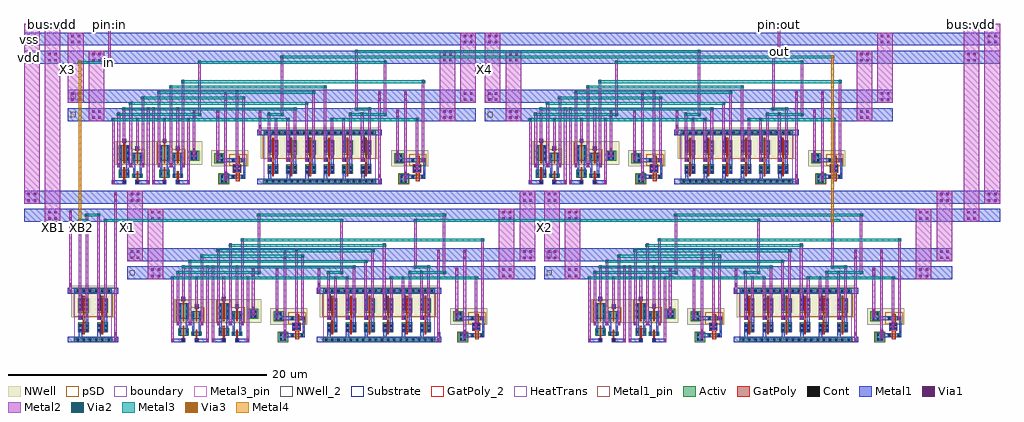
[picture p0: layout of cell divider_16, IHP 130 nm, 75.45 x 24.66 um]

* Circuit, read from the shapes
.subckt divider_16 in out vdd vss
XM1 sg13cmos5l_inv_1_1/A in vss vss sg13_lv_nmos w=0.74u l=0.13u
XM2 sg13cmos5l_inv_1_1/Y sg13cmos5l_inv_1_1/A vss vss sg13_lv_nmos w=0.74u l=0.13u
XM3 dff_c2mos_4/sg13cmos5l_inv_1_12/A dff_c2mos_4/sg13cmos5l_inv_1_11/A dff_c2mos_4/d vss sg13_lv_nmos w=0.6u l=0.13u
XM4 dff_c2mos_4/invlvw_9/y dff_c2mos_4/sg13cmos5l_inv_1_11/Y dff_c2mos_4/sg13cmos5l_inv_1_12/A vss sg13_lv_nmos w=0.3u l=0.13u
XM5 dff_c2mos_4/sg13cmos5l_inv_1_13/A dff_c2mos_4/sg13cmos5l_inv_1_11/Y dff_c2mos_4/sg13cmos5l_inv_1_12/Y vss sg13_lv_nmos w=0.6u l=0.13u
XM6 dff_c2mos_4/invlvw_16/y dff_c2mos_4/sg13cmos5l_inv_1_11/A dff_c2mos_4/sg13cmos5l_inv_1_13/A vss sg13_lv_nmos w=0.3u l=0.13u
XM7 dff_c2mos_2/sg13cmos5l_inv_1_12/A dff_c2mos_2/sg13cmos5l_inv_1_11/A dff_c2mos_2/d vss sg13_lv_nmos w=0.6u l=0.13u
XM8 dff_c2mos_2/invlvw_9/y dff_c2mos_2/sg13cmos5l_inv_1_11/Y dff_c2mos_2/sg13cmos5l_inv_1_12/A vss sg13_lv_nmos w=0.3u l=0.13u
XM9 dff_c2mos_2/sg13cmos5l_inv_1_13/A dff_c2mos_2/sg13cmos5l_inv_1_11/Y dff_c2mos_2/sg13cmos5l_inv_1_12/Y vss sg13_lv_nmos w=0.6u l=0.13u
XM10 dff_c2mos_4/invlvw_9/y dff_c2mos_4/sg13cmos5l_inv_1_12/Y vss vss sg13_lv_nmos w=0.3u l=0.3u
XM11 dff_c2mos_2/invlvw_16/y dff_c2mos_2/sg13cmos5l_inv_1_11/A dff_c2mos_2/sg13cmos5l_inv_1_13/A vss sg13_lv_nmos w=0.3u l=0.13u
XM12 dff_c2mos_4/sg13cmos5l_inv_1_11/A dff_c2mos_4/clk vss vss sg13_lv_nmos w=0.74u l=0.13u
XM13 dff_c2mos_4/sg13cmos5l_inv_1_11/Y dff_c2mos_4/sg13cmos5l_inv_1_11/A vss vss sg13_lv_nmos w=0.74u l=0.13u
XM14 dff_c2mos_2/invlvw_9/y dff_c2mos_2/sg13cmos5l_inv_1_12/Y vss vss sg13_lv_nmos w=0.3u l=0.3u
XM15 dff_c2mos_4/sg13cmos5l_inv_1_12/Y dff_c2mos_4/sg13cmos5l_inv_1_12/A vss vss sg13_lv_nmos w=0.74u l=0.13u
XM16 dff_c2mos_4/sg13cmos5l_inv_1_14/A dff_c2mos_4/sg13cmos5l_inv_1_13/A vss vss sg13_lv_nmos w=0.74u l=0.13u
XM17 dff_c2mos_2/sg13cmos5l_inv_1_11/A sg13cmos5l_inv_1_1/Y vss vss sg13_lv_nmos w=0.74u l=0.13u
XM18 dff_c2mos_4/d dff_c2mos_4/sg13cmos5l_inv_1_14/A vss vss sg13_lv_nmos w=0.74u l=0.13u
XM19 dff_c2mos_2/sg13cmos5l_inv_1_11/Y dff_c2mos_2/sg13cmos5l_inv_1_11/A vss vss sg13_lv_nmos w=0.74u l=0.13u
XM20 dff_c2mos_5/clk dff_c2mos_4/d vss vss sg13_lv_nmos w=0.74u l=0.13u
XM21 dff_c2mos_2/sg13cmos5l_inv_1_12/Y dff_c2mos_2/sg13cmos5l_inv_1_12/A vss vss sg13_lv_nmos w=0.74u l=0.13u
XM22 dff_c2mos_2/sg13cmos5l_inv_1_14/A dff_c2mos_2/sg13cmos5l_inv_1_13/A vss vss sg13_lv_nmos w=0.74u l=0.13u
XM23 dff_c2mos_2/d dff_c2mos_2/sg13cmos5l_inv_1_14/A vss vss sg13_lv_nmos w=0.74u l=0.13u
XM24 dff_c2mos_4/invlvw_16/y dff_c2mos_4/sg13cmos5l_inv_1_14/A vss vss sg13_lv_nmos w=0.3u l=0.3u
XM25 dff_c2mos_3/clk dff_c2mos_2/d vss vss sg13_lv_nmos w=0.74u l=0.13u
XM26 dff_c2mos_2/invlvw_16/y dff_c2mos_2/sg13cmos5l_inv_1_14/A vss vss sg13_lv_nmos w=0.3u l=0.3u
XM27 dff_c2mos_5/sg13cmos5l_inv_1_12/A dff_c2mos_5/sg13cmos5l_inv_1_11/A dff_c2mos_5/d vss sg13_lv_nmos w=0.6u l=0.13u
XM28 dff_c2mos_5/invlvw_9/y dff_c2mos_5/sg13cmos5l_inv_1_11/Y dff_c2mos_5/sg13cmos5l_inv_1_12/A vss sg13_lv_nmos w=0.3u l=0.13u
XM29 dff_c2mos_5/sg13cmos5l_inv_1_13/A dff_c2mos_5/sg13cmos5l_inv_1_11/Y dff_c2mos_5/sg13cmos5l_inv_1_12/Y vss sg13_lv_nmos w=0.6u l=0.13u
XM30 dff_c2mos_5/invlvw_16/y dff_c2mos_5/sg13cmos5l_inv_1_11/A dff_c2mos_5/sg13cmos5l_inv_1_13/A vss sg13_lv_nmos w=0.3u l=0.13u
XM31 dff_c2mos_3/sg13cmos5l_inv_1_12/A dff_c2mos_3/sg13cmos5l_inv_1_11/A dff_c2mos_3/d vss sg13_lv_nmos w=0.6u l=0.13u
XM32 dff_c2mos_3/invlvw_9/y dff_c2mos_3/sg13cmos5l_inv_1_11/Y dff_c2mos_3/sg13cmos5l_inv_1_12/A vss sg13_lv_nmos w=0.3u l=0.13u
XM33 dff_c2mos_3/sg13cmos5l_inv_1_13/A dff_c2mos_3/sg13cmos5l_inv_1_11/Y dff_c2mos_3/sg13cmos5l_inv_1_12/Y vss sg13_lv_nmos w=0.6u l=0.13u
XM34 dff_c2mos_5/invlvw_9/y dff_c2mos_5/sg13cmos5l_inv_1_12/Y vss vss sg13_lv_nmos w=0.3u l=0.3u
XM35 dff_c2mos_3/invlvw_16/y dff_c2mos_3/sg13cmos5l_inv_1_11/A dff_c2mos_3/sg13cmos5l_inv_1_13/A vss sg13_lv_nmos w=0.3u l=0.13u
XM36 dff_c2mos_5/sg13cmos5l_inv_1_11/A dff_c2mos_5/clk vss vss sg13_lv_nmos w=0.74u l=0.13u
XM37 dff_c2mos_5/sg13cmos5l_inv_1_11/Y dff_c2mos_5/sg13cmos5l_inv_1_11/A vss vss sg13_lv_nmos w=0.74u l=0.13u
XM38 dff_c2mos_3/invlvw_9/y dff_c2mos_3/sg13cmos5l_inv_1_12/Y vss vss sg13_lv_nmos w=0.3u l=0.3u
XM39 dff_c2mos_5/sg13cmos5l_inv_1_12/Y dff_c2mos_5/sg13cmos5l_inv_1_12/A vss vss sg13_lv_nmos w=0.74u l=0.13u
XM40 dff_c2mos_5/sg13cmos5l_inv_1_14/A dff_c2mos_5/sg13cmos5l_inv_1_13/A vss vss sg13_lv_nmos w=0.74u l=0.13u
XM41 dff_c2mos_3/sg13cmos5l_inv_1_11/A dff_c2mos_3/clk vss vss sg13_lv_nmos w=0.74u l=0.13u
XM42 dff_c2mos_5/d dff_c2mos_5/sg13cmos5l_inv_1_14/A vss vss sg13_lv_nmos w=0.74u l=0.13u
XM43 dff_c2mos_3/sg13cmos5l_inv_1_11/Y dff_c2mos_3/sg13cmos5l_inv_1_11/A vss vss sg13_lv_nmos w=0.74u l=0.13u
XM44 out dff_c2mos_5/d vss vss sg13_lv_nmos w=0.74u l=0.13u
XM45 dff_c2mos_3/sg13cmos5l_inv_1_12/Y dff_c2mos_3/sg13cmos5l_inv_1_12/A vss vss sg13_lv_nmos w=0.74u l=0.13u
XM46 dff_c2mos_3/sg13cmos5l_inv_1_14/A dff_c2mos_3/sg13cmos5l_inv_1_13/A vss vss sg13_lv_nmos w=0.74u l=0.13u
XM47 dff_c2mos_3/d dff_c2mos_3/sg13cmos5l_inv_1_14/A vss vss sg13_lv_nmos w=0.74u l=0.13u
XM48 dff_c2mos_5/invlvw_16/y dff_c2mos_5/sg13cmos5l_inv_1_14/A vss vss sg13_lv_nmos w=0.3u l=0.3u
XM49 dff_c2mos_4/clk dff_c2mos_3/d vss vss sg13_lv_nmos w=0.74u l=0.13u
XM50 dff_c2mos_3/invlvw_16/y dff_c2mos_3/sg13cmos5l_inv_1_14/A vss vss sg13_lv_nmos w=0.3u l=0.3u
XM51 sg13cmos5l_inv_1_1/A in vdd vdd sg13_lv_pmos w=1.12u l=0.13u
XM52 sg13cmos5l_inv_1_1/Y sg13cmos5l_inv_1_1/A vdd vdd sg13_lv_pmos w=1.12u l=0.13u
XM53 dff_c2mos_4/sg13cmos5l_inv_1_12/A dff_c2mos_4/sg13cmos5l_inv_1_11/Y dff_c2mos_4/d vdd sg13_lv_pmos w=1.2u l=0.13u
XM54 dff_c2mos_4/invlvw_9/y dff_c2mos_4/sg13cmos5l_inv_1_11/A dff_c2mos_4/sg13cmos5l_inv_1_12/A vdd sg13_lv_pmos w=0.6u l=0.13u
XM55 dff_c2mos_4/sg13cmos5l_inv_1_13/A dff_c2mos_4/sg13cmos5l_inv_1_11/A dff_c2mos_4/sg13cmos5l_inv_1_12/Y vdd sg13_lv_pmos w=1.2u l=0.13u
XM56 dff_c2mos_4/invlvw_16/y dff_c2mos_4/sg13cmos5l_inv_1_11/Y dff_c2mos_4/sg13cmos5l_inv_1_13/A vdd sg13_lv_pmos w=0.6u l=0.13u
XM57 dff_c2mos_2/sg13cmos5l_inv_1_12/A dff_c2mos_2/sg13cmos5l_inv_1_11/Y dff_c2mos_2/d vdd sg13_lv_pmos w=1.2u l=0.13u
XM58 dff_c2mos_2/invlvw_9/y dff_c2mos_2/sg13cmos5l_inv_1_11/A dff_c2mos_2/sg13cmos5l_inv_1_12/A vdd sg13_lv_pmos w=0.6u l=0.13u
XM59 dff_c2mos_2/sg13cmos5l_inv_1_13/A dff_c2mos_2/sg13cmos5l_inv_1_11/A dff_c2mos_2/sg13cmos5l_inv_1_12/Y vdd sg13_lv_pmos w=1.2u l=0.13u
XM60 dff_c2mos_4/invlvw_9/y dff_c2mos_4/sg13cmos5l_inv_1_12/Y vdd vdd sg13_lv_pmos w=0.3u l=0.3u
XM61 dff_c2mos_2/invlvw_16/y dff_c2mos_2/sg13cmos5l_inv_1_11/Y dff_c2mos_2/sg13cmos5l_inv_1_13/A vdd sg13_lv_pmos w=0.6u l=0.13u
XM62 dff_c2mos_4/sg13cmos5l_inv_1_11/A dff_c2mos_4/clk vdd vdd sg13_lv_pmos w=1.12u l=0.13u
XM63 dff_c2mos_4/sg13cmos5l_inv_1_11/Y dff_c2mos_4/sg13cmos5l_inv_1_11/A vdd vdd sg13_lv_pmos w=1.12u l=0.13u
XM64 dff_c2mos_2/invlvw_9/y dff_c2mos_2/sg13cmos5l_inv_1_12/Y vdd vdd sg13_lv_pmos w=0.3u l=0.3u
XM65 dff_c2mos_4/sg13cmos5l_inv_1_12/Y dff_c2mos_4/sg13cmos5l_inv_1_12/A vdd vdd sg13_lv_pmos w=1.12u l=0.13u
XM66 dff_c2mos_4/sg13cmos5l_inv_1_14/A dff_c2mos_4/sg13cmos5l_inv_1_13/A vdd vdd sg13_lv_pmos w=1.12u l=0.13u
XM67 dff_c2mos_2/sg13cmos5l_inv_1_11/A sg13cmos5l_inv_1_1/Y vdd vdd sg13_lv_pmos w=1.12u l=0.13u
XM68 dff_c2mos_4/d dff_c2mos_4/sg13cmos5l_inv_1_14/A vdd vdd sg13_lv_pmos w=1.12u l=0.13u
XM69 dff_c2mos_2/sg13cmos5l_inv_1_11/Y dff_c2mos_2/sg13cmos5l_inv_1_11/A vdd vdd sg13_lv_pmos w=1.12u l=0.13u
XM70 dff_c2mos_5/clk dff_c2mos_4/d vdd vdd sg13_lv_pmos w=1.12u l=0.13u
XM71 dff_c2mos_2/sg13cmos5l_inv_1_12/Y dff_c2mos_2/sg13cmos5l_inv_1_12/A vdd vdd sg13_lv_pmos w=1.12u l=0.13u
XM72 dff_c2mos_2/sg13cmos5l_inv_1_14/A dff_c2mos_2/sg13cmos5l_inv_1_13/A vdd vdd sg13_lv_pmos w=1.12u l=0.13u
XM73 dff_c2mos_2/d dff_c2mos_2/sg13cmos5l_inv_1_14/A vdd vdd sg13_lv_pmos w=1.12u l=0.13u
XM74 dff_c2mos_4/invlvw_16/y dff_c2mos_4/sg13cmos5l_inv_1_14/A vdd vdd sg13_lv_pmos w=0.3u l=0.3u
XM75 dff_c2mos_3/clk dff_c2mos_2/d vdd vdd sg13_lv_pmos w=1.12u l=0.13u
XM76 dff_c2mos_2/invlvw_16/y dff_c2mos_2/sg13cmos5l_inv_1_14/A vdd vdd sg13_lv_pmos w=0.3u l=0.3u
XM77 dff_c2mos_5/sg13cmos5l_inv_1_12/A dff_c2mos_5/sg13cmos5l_inv_1_11/Y dff_c2mos_5/d vdd sg13_lv_pmos w=1.2u l=0.13u
XM78 dff_c2mos_5/invlvw_9/y dff_c2mos_5/sg13cmos5l_inv_1_11/A dff_c2mos_5/sg13cmos5l_inv_1_12/A vdd sg13_lv_pmos w=0.6u l=0.13u
XM79 dff_c2mos_5/sg13cmos5l_inv_1_13/A dff_c2mos_5/sg13cmos5l_inv_1_11/A dff_c2mos_5/sg13cmos5l_inv_1_12/Y vdd sg13_lv_pmos w=1.2u l=0.13u
XM80 dff_c2mos_5/invlvw_16/y dff_c2mos_5/sg13cmos5l_inv_1_11/Y dff_c2mos_5/sg13cmos5l_inv_1_13/A vdd sg13_lv_pmos w=0.6u l=0.13u
XM81 dff_c2mos_3/sg13cmos5l_inv_1_12/A dff_c2mos_3/sg13cmos5l_inv_1_11/Y dff_c2mos_3/d vdd sg13_lv_pmos w=1.2u l=0.13u
XM82 dff_c2mos_3/invlvw_9/y dff_c2mos_3/sg13cmos5l_inv_1_11/A dff_c2mos_3/sg13cmos5l_inv_1_12/A vdd sg13_lv_pmos w=0.6u l=0.13u
XM83 dff_c2mos_3/sg13cmos5l_inv_1_13/A dff_c2mos_3/sg13cmos5l_inv_1_11/A dff_c2mos_3/sg13cmos5l_inv_1_12/Y vdd sg13_lv_pmos w=1.2u l=0.13u
XM84 dff_c2mos_5/invlvw_9/y dff_c2mos_5/sg13cmos5l_inv_1_12/Y vdd vdd sg13_lv_pmos w=0.3u l=0.3u
XM85 dff_c2mos_3/invlvw_16/y dff_c2mos_3/sg13cmos5l_inv_1_11/Y dff_c2mos_3/sg13cmos5l_inv_1_13/A vdd sg13_lv_pmos w=0.6u l=0.13u
XM86 dff_c2mos_5/sg13cmos5l_inv_1_11/A dff_c2mos_5/clk vdd vdd sg13_lv_pmos w=1.12u l=0.13u
XM87 dff_c2mos_5/sg13cmos5l_inv_1_11/Y dff_c2mos_5/sg13cmos5l_inv_1_11/A vdd vdd sg13_lv_pmos w=1.12u l=0.13u
XM88 dff_c2mos_3/invlvw_9/y dff_c2mos_3/sg13cmos5l_inv_1_12/Y vdd vdd sg13_lv_pmos w=0.3u l=0.3u
XM89 dff_c2mos_5/sg13cmos5l_inv_1_12/Y dff_c2mos_5/sg13cmos5l_inv_1_12/A vdd vdd sg13_lv_pmos w=1.12u l=0.13u
XM90 dff_c2mos_5/sg13cmos5l_inv_1_14/A dff_c2mos_5/sg13cmos5l_inv_1_13/A vdd vdd sg13_lv_pmos w=1.12u l=0.13u
XM91 dff_c2mos_3/sg13cmos5l_inv_1_11/A dff_c2mos_3/clk vdd vdd sg13_lv_pmos w=1.12u l=0.13u
XM92 dff_c2mos_5/d dff_c2mos_5/sg13cmos5l_inv_1_14/A vdd vdd sg13_lv_pmos w=1.12u l=0.13u
XM93 dff_c2mos_3/sg13cmos5l_inv_1_11/Y dff_c2mos_3/sg13cmos5l_inv_1_11/A vdd vdd sg13_lv_pmos w=1.12u l=0.13u
XM94 out dff_c2mos_5/d vdd vdd sg13_lv_pmos w=1.12u l=0.13u
XM95 dff_c2mos_3/sg13cmos5l_inv_1_12/Y dff_c2mos_3/sg13cmos5l_inv_1_12/A vdd vdd sg13_lv_pmos w=1.12u l=0.13u
XM96 dff_c2mos_3/sg13cmos5l_inv_1_14/A dff_c2mos_3/sg13cmos5l_inv_1_13/A vdd vdd sg13_lv_pmos w=1.12u l=0.13u
XM97 dff_c2mos_3/d dff_c2mos_3/sg13cmos5l_inv_1_14/A vdd vdd sg13_lv_pmos w=1.12u l=0.13u
XM98 dff_c2mos_5/invlvw_16/y dff_c2mos_5/sg13cmos5l_inv_1_14/A vdd vdd sg13_lv_pmos w=0.3u l=0.3u
XM99 dff_c2mos_4/clk dff_c2mos_3/d vdd vdd sg13_lv_pmos w=1.12u l=0.13u
XM100 dff_c2mos_3/invlvw_16/y dff_c2mos_3/sg13cmos5l_inv_1_14/A vdd vdd sg13_lv_pmos w=0.3u l=0.3u
.ends

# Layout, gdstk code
import gdstk
lib = gdstk.Library(unit=1e-6, precision=1e-09)
def R(c, l, rs):  # rectangles x0, y0, x1, y1
    for r in rs: c.add(gdstk.rectangle(r[:2], r[2:], *l))
def A(c, l, x, y, w, h, nx, ny, dx, dy):  # array of equal rectangles
    R(c, l, [(x+i*dx, y+j*dy, x+i*dx+w, y+j*dy+h) for i in range(nx) for j in range(ny)])
def P(c, l, *ps):  # polygons
    for p in ps: c.add(gdstk.Polygon(p, *l))
Activ = (1, 0)
GatPoly = (5, 0)
GatPoly_2 = (5, 2)
Cont = (6, 0)
Metal1 = (8, 0)
Metal1_pin = (8, 2)
Metal2 = (10, 0)
pSD = (14, 0)
Via1 = (19, 0)
Via2 = (29, 0)
Metal3 = (30, 0)
Metal3_pin = (30, 2)
NWell = (31, 0)
NWell_2 = (31, 2)
Substrate = (40, 0)
Via3 = (49, 0)
Metal4 = (50, 0)
HeatTrans = (51, 0)
boundary = (189, 4)

sg13cmos5l_inv_1 = lib.new_cell('sg13cmos5l_inv_1')
R(sg13cmos5l_inv_1, Activ, [(0,-0.15,1.44,0.15), (0.31,0.59,1.12,1.33), (0.31,2.075,1.12,3.195), (0,3.63,1.44,3.93)])
P(sg13cmos5l_inv_1, GatPoly, [(0.65,0.41),(0.65,1.52),(0.31,1.52),(0.31,1.85),(0.65,1.85),(0.65,3.375),(0.78,3.375),(0.78,0.41)])
A(sg13cmos5l_inv_1, Cont, 0.38, 2.285, 0.16, 0.16, 1, 3, 0, 0.34)
A(sg13cmos5l_inv_1, Cont, 0.89, 2.285, 0.16, 0.16, 1, 3, 0, 0.34)
R(sg13cmos5l_inv_1, Cont, [(0.16,-0.08,0.32,0.08), (0.16,-0.08,0.32,0.08), (0.64,-0.08,0.8,0.08), (0.64,-0.08,0.8,0.08), (1.12,-0.08,1.28,0.08), (1.12,-0.08,1.28,0.08), (0.38,0.66,0.54,0.82), (0.89,0.66,1.05,0.82), (0.38,1,0.54,1.16), (0.89,1,1.05,1.16), (0.395,1.605,0.555,1.765), (0.16,3.7,0.32,3.86), (0.16,3.7,0.32,3.86), (0.64,3.7,0.8,3.86), (0.64,3.7,0.8,3.86), (1.12,3.7,1.28,3.86), (1.12,3.7,1.28,3.86)])
R(sg13cmos5l_inv_1, Metal1, [(0.855,0.61,1.085,3.175), (0.31,1.52,0.625,1.85)])
P(sg13cmos5l_inv_1, Metal1, [(0,-0.22),(0,0.22),(0.33,0.22),(0.33,1.21),(0.59,1.21),(0.59,0.22),(1.44,0.22),(1.44,-0.22)],
  [(0.33,2.235),(0.33,3.56),(0,3.56),(0,4),(1.44,4),(1.44,3.56),(0.59,3.56),(0.59,2.235)])
R(sg13cmos5l_inv_1, Metal1_pin, [(0,-0.22,1.44,0.22), (0.855,0.61,1.085,3.175), (0.31,1.52,0.625,1.85), (0,3.56,1.44,4)])
R(sg13cmos5l_inv_1, pSD, [(-0.07,-0.18,1.51,0.18), (-0.07,1.76,1.51,3.6)])
R(sg13cmos5l_inv_1, NWell, [(-0.24,1.75,1.68,4.17)])
R(sg13cmos5l_inv_1, boundary, [(0,0,1.44,3.78)])
sg13cmos5l_inv_1.add(gdstk.Label('VDD', (0.705,3.78), layer=8, texttype=25))
sg13cmos5l_inv_1.add(gdstk.Label('VSS', (0.72,-0.02), layer=8, texttype=25))
sg13cmos5l_inv_1.add(gdstk.Label('A', (0.48,1.68), layer=8, texttype=25))
sg13cmos5l_inv_1.add(gdstk.Label('Y', (0.98,1.69), layer=8, texttype=25))

nmos_1 = lib.new_cell('nmos$1')
R(nmos_1, Activ, [(0,0,0.3,0.3), (0,0,0.81,0.6), (0.51,0,0.81,0.3)])
R(nmos_1, GatPoly, [(0.34,-0.18,0.47,0.78)])
R(nmos_1, GatPoly_2, [(0.34,-0.18,0.47,0.78)])
R(nmos_1, Cont, [(0.07,0.22,0.23,0.38), (0.58,0.22,0.74,0.38)])
R(nmos_1, Metal1, [(0.07,0,0.23,0.6), (0.58,0,0.74,0.6)])
R(nmos_1, Metal1_pin, [(0.07,0,0.23,0.6), (0.58,0,0.74,0.6)])
R(nmos_1, HeatTrans, [(0.34,-0.18,0.47,0.78)])
nmos_1.add(gdstk.Label('nmos', (0.405,0.3), layer=63, texttype=0))
nmos_1.add(gdstk.Label('nmos', (0.405,0.3), layer=51, texttype=0))

pmos_1 = lib.new_cell('pmos$1')
R(pmos_1, Activ, [(0,0,0.3,0.3), (0,0,0.81,1.2), (0.51,0,0.81,0.3)])
R(pmos_1, GatPoly, [(0.34,-0.18,0.47,1.38), (0.34,-0.18,0.47,1.38)])
A(pmos_1, Cont, 0.07, 0.07, 0.16, 0.16, 1, 3, 0, 0.45)
A(pmos_1, Cont, 0.58, 0.07, 0.16, 0.16, 1, 3, 0, 0.45)
R(pmos_1, Metal1, [(0.07,0,0.23,1.2), (0.07,0,0.23,1.2), (0.58,0,0.74,1.2), (0.58,0,0.74,1.2)])
R(pmos_1, pSD, [(-0.18,-0.3,0.99,1.5)])
R(pmos_1, NWell, [(-0.31,-0.31,1.12,1.51)])
R(pmos_1, HeatTrans, [(0.34,-0.18,0.47,1.38)])
pmos_1.add(gdstk.Label('pmos', (0.405,0.6), layer=63, texttype=0))
pmos_1.add(gdstk.Label('pmos', (0.405,0.6), layer=51, texttype=0))

nmos_2_1 = lib.new_cell('nmos$2$1')
R(nmos_2_1, Activ, [(0,0,0.3,0.3), (0,0,0.81,0.3), (0.51,0,0.81,0.3)])
R(nmos_2_1, GatPoly, [(0.34,-0.18,0.47,0.48)])
R(nmos_2_1, GatPoly_2, [(0.34,-0.18,0.47,0.48)])
R(nmos_2_1, Cont, [(0.07,0.07,0.23,0.23), (0.58,0.07,0.74,0.23)])
R(nmos_2_1, Metal1, [(0.07,0,0.23,0.3), (0.58,0,0.74,0.3)])
R(nmos_2_1, Metal1_pin, [(0.07,0,0.23,0.3), (0.58,0,0.74,0.3)])
R(nmos_2_1, HeatTrans, [(0.34,-0.18,0.47,0.48)])
nmos_2_1.add(gdstk.Label('nmos', (0.405,0.15), layer=63, texttype=0))
nmos_2_1.add(gdstk.Label('nmos', (0.405,0.15), layer=51, texttype=0))

pmos_2_1 = lib.new_cell('pmos$2$1')
R(pmos_2_1, Activ, [(0,0,0.3,0.3), (0,0,0.81,0.6), (0.51,0,0.81,0.3)])
R(pmos_2_1, GatPoly, [(0.34,-0.18,0.47,0.78), (0.34,-0.18,0.47,0.78)])
R(pmos_2_1, Cont, [(0.07,0.22,0.23,0.38), (0.58,0.22,0.74,0.38)])
R(pmos_2_1, Metal1, [(0.07,0,0.23,0.6), (0.07,0,0.23,0.6), (0.58,0,0.74,0.6), (0.58,0,0.74,0.6)])
R(pmos_2_1, pSD, [(-0.18,-0.3,0.99,0.9)])
R(pmos_2_1, NWell, [(-0.31,-0.31,1.12,0.91)])
R(pmos_2_1, HeatTrans, [(0.34,-0.18,0.47,0.78)])
pmos_2_1.add(gdstk.Label('pmos', (0.405,0.3), layer=63, texttype=0))
pmos_2_1.add(gdstk.Label('pmos', (0.405,0.3), layer=51, texttype=0))

ntap1 = lib.new_cell('ntap1')
R(ntap1, Activ, [(0,0,0.78,0.78)])
R(ntap1, Cont, [(0.14,0.14,0.3,0.3), (0.48,0.14,0.64,0.3), (0.14,0.48,0.3,0.64), (0.48,0.48,0.64,0.64)])
R(ntap1, Metal1, [(0.14,0.09,0.64,0.69)])
R(ntap1, Metal1_pin, [(0.14,0.09,0.64,0.69), (0.14,0.14,0.64,0.64)])
R(ntap1, NWell, [(-0.24,-0.24,1.02,1.02), (0,0,0.78,0.78)])
R(ntap1, NWell_2, [(0,0,0.78,0.78)])
ntap1.add(gdstk.Label('well', (0.39,0.01), layer=31, texttype=0))
ntap1.add(gdstk.Label('well', (0.39,0.01), layer=63, texttype=0))

pmos_3 = lib.new_cell('pmos$3')
R(pmos_3, Activ, [(0,0,0.3,0.3), (0,0,0.98,0.3), (0.68,0,0.98,0.3)])
R(pmos_3, GatPoly, [(0.34,-0.18,0.64,0.48), (0.34,-0.18,0.64,0.48)])
R(pmos_3, Cont, [(0.07,0.07,0.23,0.23), (0.75,0.07,0.91,0.23)])
R(pmos_3, Metal1, [(0.07,0,0.23,0.3), (0.07,0,0.23,0.3), (0.75,0,0.91,0.3), (0.75,0,0.91,0.3)])
R(pmos_3, pSD, [(-0.18,-0.3,1.16,0.6)])
R(pmos_3, NWell, [(-0.31,-0.31,1.29,0.61)])
R(pmos_3, HeatTrans, [(0.34,-0.18,0.64,0.48)])
pmos_3.add(gdstk.Label('pmos', (0.49,0.15), layer=63, texttype=0))
pmos_3.add(gdstk.Label('pmos', (0.49,0.15), layer=51, texttype=0))

nmos_5 = lib.new_cell('nmos$5')
R(nmos_5, Activ, [(0,0,0.3,0.3), (0,0,0.98,0.3), (0.68,0,0.98,0.3)])
R(nmos_5, GatPoly, [(0.34,-0.18,0.64,0.48)])
R(nmos_5, GatPoly_2, [(0.34,-0.18,0.64,0.48)])
R(nmos_5, Cont, [(0.07,0.07,0.23,0.23), (0.75,0.07,0.91,0.23)])
R(nmos_5, Metal1, [(0.07,0,0.23,0.3), (0.75,0,0.91,0.3)])
R(nmos_5, Metal1_pin, [(0.07,0,0.23,0.3), (0.75,0,0.91,0.3)])
R(nmos_5, HeatTrans, [(0.34,-0.18,0.64,0.48)])
nmos_5.add(gdstk.Label('nmos', (0.49,0.15), layer=63, texttype=0))
nmos_5.add(gdstk.Label('nmos', (0.49,0.15), layer=51, texttype=0))

ptap1 = lib.new_cell('ptap1')
R(ptap1, Activ, [(0,0,0.78,0.78)])
R(ptap1, Cont, [(0.14,0.14,0.3,0.3), (0.48,0.14,0.64,0.3), (0.14,0.48,0.3,0.64), (0.48,0.48,0.64,0.64)])
R(ptap1, Metal1, [(0.14,0.09,0.64,0.69), (0.14,0.14,0.64,0.64)])
R(ptap1, Metal1_pin, [(0.14,0.14,0.64,0.64)])
R(ptap1, pSD, [(-0.03,-0.03,0.81,0.81)])
R(ptap1, Substrate, [(0,0,0.78,0.78)])
ptap1.add(gdstk.Label('sub!', (0.39,0.01), layer=63, texttype=0))
ptap1.add(gdstk.Label('sub!', (0.39,0.01), layer=40, texttype=0))

via_stack = lib.new_cell('via_stack')
R(via_stack, GatPoly, [(-0.32,-0.32,0.32,0.32)])
R(via_stack, Cont, [(-0.25,-0.25,-0.09,-0.09), (0.09,-0.25,0.25,-0.09), (-0.25,0.09,-0.09,0.25), (0.09,0.09,0.25,0.25)])
R(via_stack, Metal1, [(-0.3,-0.25,0.3,0.25)])

invlvw = lib.new_cell('invlvw')
R(invlvw, Metal1, [(1.22,0.43,1.64,0.73), (2.48,0.43,2.64,2.03), (0.88,1.73,1.64,2.03)])
R(invlvw, Metal1_pin, [(1.66,0.5,1.79,0.63), (2.49,0.76,2.62,0.89), (1.99,1.18,2.12,1.31), (1.655,1.815,1.785,1.945)])
R(invlvw, NWell, [(0,1.4,2.86,2.66)])
invlvw.add(gdstk.Reference(ntap1, (0.24,1.64)))
invlvw.add(gdstk.Reference(pmos_3, (1.57,1.73)))
invlvw.add(gdstk.Reference(nmos_5, (1.57,0.43)))
invlvw.add(gdstk.Reference(ptap1, (0.58,0.04)))
invlvw.add(gdstk.Reference(via_stack, (2,1.23)))
invlvw.add(gdstk.Label('vdd', (1.72,1.88), layer=8, texttype=25))
invlvw.add(gdstk.Label('a', (2.05,1.24), layer=8, texttype=25))
invlvw.add(gdstk.Label('vss', (1.724,0.574), layer=8, texttype=25))
invlvw.add(gdstk.Label('y', (2.543,0.833), layer=8, texttype=25))
invlvw.add(gdstk.Label('MMP', (1.26,2.13), layer=63, texttype=0))
invlvw.add(gdstk.Label('MMN', (1.601,0.771), layer=63, texttype=0))

dff_c2mos = lib.new_cell('dff_c2mos')
R(dff_c2mos, GatPoly, [(0.795,0.01,1.095,0.34), (1.815,0.01,2.115,0.34), (3.915,0.01,4.215,0.34), (4.935,0.01,5.235,0.34), (1.815,2.6,2.115,2.93), (4.935,2.6,5.235,2.93), (0.795,3.2,1.095,3.53), (3.915,3.2,4.215,3.53)])
R(dff_c2mos, Cont, [(0.865,0.08,1.025,0.24), (1.885,0.08,2.045,0.24), (3.985,0.08,4.145,0.24), (5.005,0.08,5.165,0.24), (1.885,2.7,2.045,2.86), (5.005,2.7,5.165,2.86), (0.865,3.3,1.025,3.46), (3.985,3.3,4.145,3.46)])
A(dff_c2mos, Metal1, 0.42, 1.325, 0.21, 0.29, 3, 1, 0.93, 0)
A(dff_c2mos, Metal1, 3.54, 1.325, 0.21, 0.29, 3, 1, 0.93, 0)
A(dff_c2mos, Metal1, 12.045, 1.76, 0.21, 0.29, 6, 1, 1.44, 0)
A(dff_c2mos, Metal1, 12.59, 1.965, 0.21, 0.29, 6, 1, 1.44, 0)
R(dff_c2mos, Metal1, [(0.795,0,1.095,0.32), (1.815,0,2.115,0.32), (3.915,0,4.215,0.32), (4.935,0,5.235,0.32), (11.235,0,11.735,0.44), (20.375,0,20.875,0.44), (0,0.015,0.945,0.305), (0,0.015,0.21,0.305), (0.21,0.015,0.945,0.305), (1.965,0.015,2.91,0.305), (1.965,0.015,2.7,0.305), (2.7,0.015,2.91,0.305), (3.12,0.015,4.065,0.305), (3.12,0.015,3.33,0.305), (3.33,0.015,4.065,0.305), (5.085,0.015,6.03,0.305), (5.085,0.015,5.82,0.305), (5.82,0.015,6.03,0.305), (20.57,0.075,20.78,0.365), (20.57,0.075,20.78,0.785), (8.685,0.275,8.895,0.565), (8.685,0.275,8.895,0.985), (22.585,0.275,22.795,0.565), (22.585,0.275,22.795,0.985), (0.61,0.52,0.77,3.02), (1.12,0.52,1.28,3.02), (1.63,0.52,1.79,2.42), (2.14,0.52,2.3,2.42), (3.73,0.52,3.89,3.02), (4.24,0.52,4.4,3.02), (4.75,0.52,4.91,2.42), (5.26,0.52,5.42,2.42), (9.57,1.075,9.78,1.365), (23.47,1.075,23.68,1.365), (0.42,1.325,0.77,1.615), (1.12,1.325,1.79,1.615), (2.14,1.325,2.49,1.615), (3.54,1.325,3.89,1.615), (4.24,1.325,4.91,1.615), (5.26,1.325,5.61,1.615), (10.05,1.725,10.26,2.015), (23.95,1.725,24.16,2.015), (8.07,1.875,8.28,2.165), (8.07,1.875,8.28,2.585), (21.97,1.875,22.18,2.165), (21.97,1.875,22.18,2.585), (6.24,2.065,6.45,2.355), (6.24,2.065,6.45,2.775), (1.815,2.62,2.115,2.94), (4.935,2.62,5.235,2.94), (1.86,2.635,2.07,2.925), (4.98,2.635,5.19,2.925), (0.795,3.22,1.095,3.54), (3.915,3.22,4.215,3.54), (0.84,3.235,1.05,3.525), (3.96,3.235,4.17,3.525), (11.235,3.78,11.735,4.22), (20.375,3.78,20.875,4.22), (11.33,3.855,11.54,4.145), (11.33,3.855,11.54,4.565), (-3.4,4.89,28.135,5.89), (-3.4,6.29,28.135,7.29)])
R(dff_c2mos, Metal1_pin, [(-3.2,5.19,-2.8,5.59), (-3.2,6.59,-2.8,6.99)])
R(dff_c2mos, Metal2, [(0.005,0.015,0.205,5.135), (2.705,0.015,2.905,5.975), (3.125,0.015,3.325,5.975), (5.825,0.015,6.025,5.135), (20.575,0.075,20.775,7.175), (8.69,0.275,8.89,7.175), (22.59,0.275,22.79,7.175), (9.575,1.075,9.775,7.235), (23.475,1.075,23.675,5.135), (0.425,1.325,0.625,5.555), (1.355,1.325,1.555,6.395), (2.285,1.325,2.485,6.815), (3.545,1.325,3.745,7.235), (4.475,1.325,4.675,7.655), (5.405,1.325,5.605,8.075), (10.055,1.725,10.255,6.815), (23.955,1.725,24.155,8.075), (12.05,1.76,12.25,5.555), (13.49,1.76,13.69,5.135), (14.93,1.76,15.13,6.395), (16.37,1.76,16.57,7.655), (17.81,1.76,18.01,5.135), (19.25,1.76,19.45,5.555), (8.075,1.875,8.275,5.775), (21.975,1.875,22.175,5.775), (12.595,1.965,12.795,5.135), (14.035,1.965,14.235,5.975), (15.475,1.965,15.675,7.235), (16.915,1.965,17.115,5.135), (18.355,1.965,18.555,5.555), (19.795,1.965,19.995,5.975), (6.245,2.065,6.445,5.775), (1.865,2.635,2.065,5.135), (4.985,2.635,5.185,5.975), (0.845,3.235,1.045,5.975), (3.965,3.235,4.165,5.135), (11.335,3.855,11.535,5.775), (-1.8,4.89,-0.6,8.83), (25.335,4.89,26.535,8.83), (6.675,5.265,6.875,8.83), (13.05,5.265,13.25,8.83), (21,5.265,21.2,8.83), (18.795,5.685,18.995,8.83), (-3.4,6.29,-2.2,8.83), (26.935,6.29,28.135,8.83)])
A(dff_c2mos, Via1, 0.43, 1.375, 0.19, 0.19, 3, 1, 0.93, 0)
A(dff_c2mos, Via1, 3.55, 1.375, 0.19, 0.19, 3, 1, 0.93, 0)
A(dff_c2mos, Via1, 12.055, 1.81, 0.19, 0.19, 6, 1, 1.44, 0)
A(dff_c2mos, Via1, 12.6, 2.015, 0.19, 0.19, 6, 1, 1.44, 0)
R(dff_c2mos, Via1, [(0.01,0.065,0.2,0.255), (2.71,0.065,2.9,0.255), (3.13,0.065,3.32,0.255), (5.83,0.065,6.02,0.255), (20.58,0.125,20.77,0.315), (8.695,0.325,8.885,0.515), (22.595,0.325,22.785,0.515), (20.58,0.545,20.77,0.735), (8.695,0.745,8.885,0.935), (22.595,0.745,22.785,0.935), (9.58,1.125,9.77,1.315), (23.48,1.125,23.67,1.315), (10.06,1.775,10.25,1.965), (23.96,1.775,24.15,1.965), (8.08,1.925,8.27,2.115), (21.98,1.925,22.17,2.115), (6.25,2.115,6.44,2.305), (8.08,2.345,8.27,2.535), (21.98,2.345,22.17,2.535), (6.25,2.535,6.44,2.725), (1.87,2.685,2.06,2.875), (4.99,2.685,5.18,2.875), (0.85,3.285,1.04,3.475), (3.97,3.285,4.16,3.475), (11.34,3.905,11.53,4.095), (11.34,4.325,11.53,4.515), (-1.535,5.055,-1.345,5.245), (-1.055,5.055,-0.865,5.245), (6.25,5.055,6.44,5.245), (8.08,5.055,8.27,5.245), (11.34,5.055,11.53,5.245), (21.98,5.055,22.17,5.245), (25.6,5.055,25.79,5.245), (26.08,5.055,26.27,5.245), (-1.535,5.535,-1.345,5.725), (-1.055,5.535,-0.865,5.725), (6.25,5.535,6.44,5.725), (8.08,5.535,8.27,5.725), (11.34,5.535,11.53,5.725), (21.98,5.535,22.17,5.725), (25.6,5.535,25.79,5.725), (26.08,5.535,26.27,5.725), (-3.135,6.455,-2.945,6.645), (-2.655,6.455,-2.465,6.645), (8.695,6.455,8.885,6.645), (20.58,6.455,20.77,6.645), (22.595,6.455,22.785,6.645), (27.2,6.455,27.39,6.645), (27.68,6.455,27.87,6.645), (-3.135,6.935,-2.945,7.125), (-2.655,6.935,-2.465,7.125), (8.695,6.935,8.885,7.125), (20.58,6.935,20.77,7.125), (22.595,6.935,22.785,7.125), (27.2,6.935,27.39,7.125), (27.68,6.935,27.87,7.125)])
R(dff_c2mos, Via2, [(0.01,4.895,0.2,5.085), (1.87,4.895,2.06,5.085), (3.97,4.895,4.16,5.085), (5.83,4.895,6.02,5.085), (12.6,4.895,12.79,5.085), (13.495,4.895,13.685,5.085), (16.92,4.895,17.11,5.085), (17.815,4.895,18.005,5.085), (23.48,4.895,23.67,5.085), (0.43,5.315,0.62,5.505), (6.68,5.315,6.87,5.505), (12.055,5.315,12.245,5.505), (13.055,5.315,13.245,5.505), (18.36,5.315,18.55,5.505), (19.255,5.315,19.445,5.505), (21.005,5.315,21.195,5.505), (0.85,5.735,1.04,5.925), (2.71,5.735,2.9,5.925), (3.13,5.735,3.32,5.925), (4.99,5.735,5.18,5.925), (14.04,5.735,14.23,5.925), (18.8,5.735,18.99,5.925), (19.8,5.735,19.99,5.925), (1.36,6.155,1.55,6.345), (14.935,6.155,15.125,6.345), (2.29,6.575,2.48,6.765), (10.06,6.575,10.25,6.765), (3.55,6.995,3.74,7.185), (9.58,6.995,9.77,7.185), (15.48,6.995,15.67,7.185), (4.48,7.415,4.67,7.605), (16.375,7.415,16.565,7.605), (5.41,7.835,5.6,8.025), (23.96,7.835,24.15,8.025)])
R(dff_c2mos, Metal3, [(-0.04,4.89,13.735,5.09), (16.87,4.89,23.72,5.09), (0.38,5.31,6.92,5.51), (12.005,5.31,13.295,5.51), (18.31,5.31,21.245,5.51), (0.8,5.73,14.28,5.93), (18.75,5.73,20.04,5.93), (1.31,6.15,15.175,6.35), (2.24,6.57,10.3,6.77), (3.5,6.99,15.72,7.19), (4.43,7.41,16.615,7.61), (5.36,7.83,24.2,8.03)])
R(dff_c2mos, Metal3_pin, [(6.71,5.345,6.84,5.475), (13.085,5.345,13.215,5.475), (21.035,5.345,21.165,5.475), (18.83,5.765,18.96,5.895)])
R(dff_c2mos, NWell, [(0.23,1.51,6.975,3.33)])
dff_c2mos.add(gdstk.Reference(nmos_1, (0.54,0.52)))
dff_c2mos.add(gdstk.Reference(pmos_1, (0.54,1.82)))
dff_c2mos.add(gdstk.Reference(nmos_2_1, (1.56,0.52)))
dff_c2mos.add(gdstk.Reference(pmos_2_1, (1.56,1.82)))
dff_c2mos.add(gdstk.Reference(nmos_1, (3.66,0.52)))
dff_c2mos.add(gdstk.Reference(pmos_1, (3.66,1.82)))
dff_c2mos.add(gdstk.Reference(nmos_2_1, (4.68,0.52)))
dff_c2mos.add(gdstk.Reference(pmos_2_1, (4.68,1.82)))
dff_c2mos.add(gdstk.Reference(ntap1, (5.955,1.82)))
dff_c2mos.add(gdstk.Reference(invlvw, (7.675,-0.01)))
dff_c2mos.add(gdstk.Reference(sg13cmos5l_inv_1, (11.735,0.22)))
dff_c2mos.add(gdstk.Reference(sg13cmos5l_inv_1, (13.175,0.22)))
dff_c2mos.add(gdstk.Reference(sg13cmos5l_inv_1, (14.615,0.22)))
dff_c2mos.add(gdstk.Reference(sg13cmos5l_inv_1, (16.055,0.22)))
dff_c2mos.add(gdstk.Reference(sg13cmos5l_inv_1, (17.495,0.22)))
dff_c2mos.add(gdstk.Reference(sg13cmos5l_inv_1, (18.935,0.22)))
dff_c2mos.add(gdstk.Reference(invlvw, (21.575,-0.01)))
dff_c2mos.add(gdstk.Label('vdd', (-3,5.39), layer=8, texttype=25))
dff_c2mos.add(gdstk.Label('vss', (-3,6.79), layer=8, texttype=25))
dff_c2mos.add(gdstk.Label('d', (6.775,5.41), layer=30, texttype=25))
dff_c2mos.add(gdstk.Label('clk', (13.15,5.41), layer=30, texttype=25))
dff_c2mos.add(gdstk.Label('q', (18.895,5.83), layer=30, texttype=25))
dff_c2mos.add(gdstk.Label('qb', (21.1,5.41), layer=30, texttype=25))
dff_c2mos.add(gdstk.Label('MT1 MT2 MT3 MT4', (0,4.44), layer=63, texttype=0))
dff_c2mos.add(gdstk.Label('XI2', (7.675,4.44), layer=63, texttype=0))
dff_c2mos.add(gdstk.Label('XI0 XI9 XI1 XI3 XI5 XI6', (11.235,4.44), layer=63, texttype=0))
dff_c2mos.add(gdstk.Label('XI4', (21.575,4.44), layer=63, texttype=0))
dff_c2mos.add(gdstk.Label('pin:d', (6.775,8.73), layer=63, texttype=0))
dff_c2mos.add(gdstk.Label('pin:clk', (13.15,8.73), layer=63, texttype=0))
dff_c2mos.add(gdstk.Label('pin:q', (18.895,8.73), layer=63, texttype=0))
dff_c2mos.add(gdstk.Label('pin:qb', (21.1,8.73), layer=63, texttype=0))
dff_c2mos.add(gdstk.Label('bus:vdd', (-1.2,8.73), layer=63, texttype=0))
dff_c2mos.add(gdstk.Label('bus:vdd', (25.935,8.73), layer=63, texttype=0))
dff_c2mos.add(gdstk.Label('bus:vss', (-2.8,8.73), layer=63, texttype=0))
dff_c2mos.add(gdstk.Label('bus:vss', (27.535,8.73), layer=63, texttype=0))

divider_16 = lib.new_cell('divider_16')
R(divider_16, Metal1, [(0,0,0.5,0.44), (3.38,0,3.88,0.44), (3.575,0.075,3.785,0.365), (3.575,0.075,3.785,0.785), (0.81,1.76,1.02,2.05), (2.25,1.76,2.46,2.05), (1.355,1.965,1.565,2.255), (2.795,1.965,3.005,2.255), (0,3.78,0.5,4.22), (3.38,3.78,3.88,4.22), (0.095,3.855,0.305,4.145), (0.095,3.855,0.305,4.565), (-3.4,9.33,72.05,10.33), (-3.4,10.73,72.05,11.73), (-3.4,21.56,72.05,22.56), (-3.4,22.96,72.05,23.96)])
R(divider_16, Metal1_pin, [(-3.2,21.86,-2.8,22.26), (-3.2,23.26,-2.8,23.66)])
R(divider_16, Metal2, [(3.58,0.075,3.78,11.615), (0.815,1.76,1.015,9.575), (2.255,1.76,2.455,9.995), (1.36,1.965,1.56,9.995), (2.8,1.965,3,9.575), (0.1,3.855,0.3,10.215), (4.58,8.53,5.78,11.73), (6.18,8.53,7.38,10.33), (33.315,8.53,34.515,10.33), (34.915,8.53,36.115,11.73), (36.815,8.53,38.015,11.73), (38.415,8.53,39.615,10.33), (65.55,8.53,66.75,10.33), (67.15,8.53,68.35,11.73), (14.655,8.685,14.855,9.995), (21.03,8.685,21.23,9.575), (26.775,8.685,26.975,9.575), (28.98,8.685,29.18,9.995), (46.89,8.685,47.09,9.995), (53.265,8.685,53.465,9.575), (59.01,8.685,59.21,9.575), (61.215,8.685,61.415,9.995), (-1.8,9.33,-0.6,24.66), (69.25,9.33,70.45,24.66), (-3.4,10.73,-2.2,24.66), (70.85,10.73,72.05,24.66), (0,20.76,1.2,23.96), (1.6,20.76,2.8,22.56), (28.735,20.76,29.935,22.56), (30.335,20.76,31.535,23.96), (32.235,20.76,33.435,23.96), (33.835,20.76,35.035,22.56), (60.97,20.76,62.17,22.56), (62.57,20.76,63.77,23.96), (10.075,20.915,10.275,21.805), (16.45,20.915,16.65,22.225), (22.195,20.915,22.395,22.645), (24.4,20.915,24.6,21.805), (42.31,20.915,42.51,21.805), (48.685,20.915,48.885,22.645), (54.43,20.915,54.63,22.645), (56.635,20.915,56.835,21.805), (3.115,21.515,3.315,24.66), (54.88,22.355,55.08,24.66)])
R(divider_16, Via1, [(3.585,0.125,3.775,0.315), (3.585,0.545,3.775,0.735), (0.82,1.81,1.01,2), (2.26,1.81,2.45,2), (1.365,2.015,1.555,2.205), (2.805,2.015,2.995,2.205), (0.105,3.905,0.295,4.095), (0.105,4.325,0.295,4.515), (-1.535,9.495,-1.345,9.685), (-1.055,9.495,-0.865,9.685), (0.105,9.495,0.295,9.685), (6.445,9.495,6.635,9.685), (6.925,9.495,7.115,9.685), (33.58,9.495,33.77,9.685), (34.06,9.495,34.25,9.685), (38.68,9.495,38.87,9.685), (39.16,9.495,39.35,9.685), (65.815,9.495,66.005,9.685), (66.295,9.495,66.485,9.685), (69.515,9.495,69.705,9.685), (69.995,9.495,70.185,9.685), (-1.535,9.975,-1.345,10.165), (-1.055,9.975,-0.865,10.165), (0.105,9.975,0.295,10.165), (6.445,9.975,6.635,10.165), (6.925,9.975,7.115,10.165), (33.58,9.975,33.77,10.165), (34.06,9.975,34.25,10.165), (38.68,9.975,38.87,10.165), (39.16,9.975,39.35,10.165), (65.815,9.975,66.005,10.165), (66.295,9.975,66.485,10.165), (69.515,9.975,69.705,10.165), (69.995,9.975,70.185,10.165), (-3.135,10.895,-2.945,11.085), (-2.655,10.895,-2.465,11.085), (3.585,10.895,3.775,11.085), (4.845,10.895,5.035,11.085), (5.325,10.895,5.515,11.085), (35.18,10.895,35.37,11.085), (35.66,10.895,35.85,11.085), (37.08,10.895,37.27,11.085), (37.56,10.895,37.75,11.085), (67.415,10.895,67.605,11.085), (67.895,10.895,68.085,11.085), (71.115,10.895,71.305,11.085), (71.595,10.895,71.785,11.085), (-3.135,11.375,-2.945,11.565), (-2.655,11.375,-2.465,11.565), (3.585,11.375,3.775,11.565), (4.845,11.375,5.035,11.565), (5.325,11.375,5.515,11.565), (35.18,11.375,35.37,11.565), (35.66,11.375,35.85,11.565), (37.08,11.375,37.27,11.565), (37.56,11.375,37.75,11.565), (67.415,11.375,67.605,11.565), (67.895,11.375,68.085,11.565), (71.115,11.375,71.305,11.565), (71.595,11.375,71.785,11.565), (-1.535,21.725,-1.345,21.915), (-1.055,21.725,-0.865,21.915), (1.865,21.725,2.055,21.915), (2.345,21.725,2.535,21.915), (29,21.725,29.19,21.915), (29.48,21.725,29.67,21.915), (34.1,21.725,34.29,21.915), (34.58,21.725,34.77,21.915), (61.235,21.725,61.425,21.915), (61.715,21.725,61.905,21.915), (69.515,21.725,69.705,21.915), (69.995,21.725,70.185,21.915), (-1.535,22.205,-1.345,22.395), (-1.055,22.205,-0.865,22.395), (1.865,22.205,2.055,22.395), (2.345,22.205,2.535,22.395), (29,22.205,29.19,22.395), (29.48,22.205,29.67,22.395), (34.1,22.205,34.29,22.395), (34.58,22.205,34.77,22.395), (61.235,22.205,61.425,22.395), (61.715,22.205,61.905,22.395), (69.515,22.205,69.705,22.395), (69.995,22.205,70.185,22.395), (-3.135,23.125,-2.945,23.315), (-2.655,23.125,-2.465,23.315), (0.265,23.125,0.455,23.315), (0.745,23.125,0.935,23.315), (30.6,23.125,30.79,23.315), (31.08,23.125,31.27,23.315), (32.5,23.125,32.69,23.315), (32.98,23.125,33.17,23.315), (62.835,23.125,63.025,23.315), (63.315,23.125,63.505,23.315), (71.115,23.125,71.305,23.315), (71.595,23.125,71.785,23.315), (-3.135,23.605,-2.945,23.795), (-2.655,23.605,-2.465,23.795), (0.265,23.605,0.455,23.795), (0.745,23.605,0.935,23.795), (30.6,23.605,30.79,23.795), (31.08,23.605,31.27,23.795), (32.5,23.605,32.69,23.795), (32.98,23.605,33.17,23.795), (62.835,23.605,63.025,23.795), (63.315,23.605,63.505,23.795), (71.115,23.605,71.305,23.795), (71.595,23.605,71.785,23.795)])
R(divider_16, Via2, [(0.82,9.335,1.01,9.525), (2.805,9.335,2.995,9.525), (21.035,9.335,21.225,9.525), (26.78,9.335,26.97,9.525), (53.27,9.335,53.46,9.525), (59.015,9.335,59.205,9.525), (1.365,9.755,1.555,9.945), (2.26,9.755,2.45,9.945), (14.66,9.755,14.85,9.945), (28.985,9.755,29.175,9.945), (46.895,9.755,47.085,9.945), (61.22,9.755,61.41,9.945), (3.12,21.565,3.31,21.755), (10.08,21.565,10.27,21.755), (24.405,21.565,24.595,21.755), (42.315,21.565,42.505,21.755), (56.64,21.565,56.83,21.755), (16.455,21.985,16.645,22.175), (22.2,22.405,22.39,22.595), (48.69,22.405,48.88,22.595), (54.435,22.405,54.625,22.595), (54.885,22.405,55.075,22.595)])
R(divider_16, Metal3, [(0.77,9.33,1.52,9.53), (2.755,9.33,21.275,9.53), (26.73,9.33,53.51,9.53), (58.965,9.33,59.715,9.53), (1.315,9.75,2.5,9.95), (14.61,9.75,29.225,9.95), (46.845,9.75,61.46,9.95), (0.77,21.56,3.36,21.76), (10.03,21.56,24.645,21.76), (42.265,21.56,56.88,21.76), (16.405,21.98,59.255,22.18), (22.15,22.4,48.93,22.6), (54.385,22.4,55.135,22.6)])
R(divider_16, Metal3_pin, [(3.15,21.595,3.28,21.725), (54.915,22.435,55.045,22.565)])
R(divider_16, Via3, [(0.82,9.335,1.01,9.525), (59.015,9.335,59.205,9.525), (0.82,21.565,1.01,21.755), (59.015,21.985,59.205,22.175)])
R(divider_16, Metal4, [(0.815,9.285,1.015,21.805), (59.01,9.285,59.21,22.225)])
divider_16.add(gdstk.Reference(sg13cmos5l_inv_1, (0.5,0.22)))
divider_16.add(gdstk.Reference(sg13cmos5l_inv_1, (1.94,0.22)))
divider_16.add(gdstk.Reference(dff_c2mos, (7.98,0)))
divider_16.add(gdstk.Reference(dff_c2mos, (40.215,0)))
divider_16.add(gdstk.Reference(dff_c2mos, (3.4,12.23)))
divider_16.add(gdstk.Reference(dff_c2mos, (35.635,12.23)))
divider_16.add(gdstk.Label('vdd', (-3,22.06), layer=8, texttype=25))
divider_16.add(gdstk.Label('vss', (-3,23.46), layer=8, texttype=25))
divider_16.add(gdstk.Label('in', (3.215,21.66), layer=30, texttype=25))
divider_16.add(gdstk.Label('out', (54.98,22.5), layer=30, texttype=25))
divider_16.add(gdstk.Label('XB1 XB2', (0,8.88), layer=63, texttype=0))
divider_16.add(gdstk.Label('X1', (4.58,8.88), layer=63, texttype=0))
divider_16.add(gdstk.Label('X2', (36.815,8.88), layer=63, texttype=0))
divider_16.add(gdstk.Label('X3', (0,21.11), layer=63, texttype=0))
divider_16.add(gdstk.Label('X4', (32.235,21.11), layer=63, texttype=0))
divider_16.add(gdstk.Label('pin:in', (3.215,24.56), layer=63, texttype=0))
divider_16.add(gdstk.Label('pin:out', (54.98,24.56), layer=63, texttype=0))
divider_16.add(gdstk.Label('bus:vdd', (-1.2,24.56), layer=63, texttype=0))
divider_16.add(gdstk.Label('bus:vdd', (69.85,24.56), layer=63, texttype=0))
divider_16.add(gdstk.Label('bus:vss', (-2.8,24.56), layer=63, texttype=0))
divider_16.add(gdstk.Label('bus:vss', (71.45,24.56), layer=63, texttype=0))

lib.write_gds('divider_16.gds')
